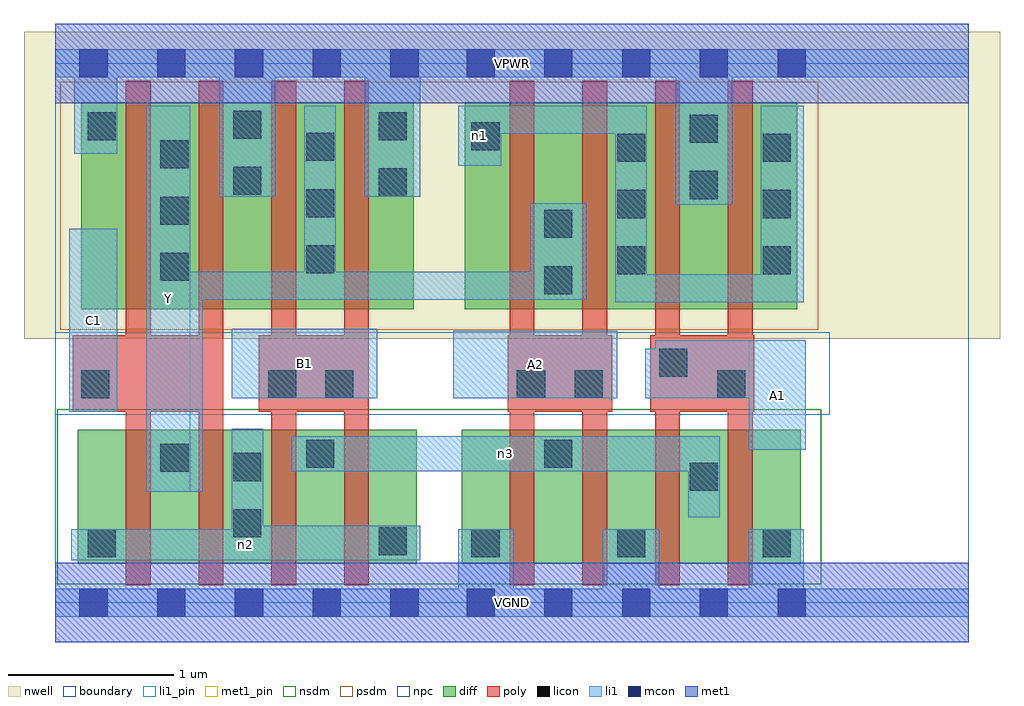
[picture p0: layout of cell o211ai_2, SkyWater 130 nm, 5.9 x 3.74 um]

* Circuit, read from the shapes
.subckt o211ai_2 A1 A2 B1 C1 VGND VPWR Y n1 n2 n3
XM1 Y C1 n2 VSUBS sky130_fd_pr__nfet_01v8 w=0.81 l=0.15 m=2
XM2 n3 B1 n2 VSUBS sky130_fd_pr__nfet_01v8 w=0.81 l=0.15 m=2
XM3 n3 A2 VGND VSUBS sky130_fd_pr__nfet_01v8 w=0.81 l=0.15 m=2
XM4 n3 A1 VGND VSUBS sky130_fd_pr__nfet_01v8 w=0.81 l=0.15 m=2
XM5 Y C1 VPWR n4 sky130_fd_pr__pfet_01v8 w=1.25 l=0.15 m=2
XM6 Y B1 VPWR n4 sky130_fd_pr__pfet_01v8 w=1.25 l=0.15 m=2
XM7 Y A2 n1 n4 sky130_fd_pr__pfet_01v8 w=1.25 l=0.15 m=2
XM8 VPWR A1 n1 n4 sky130_fd_pr__pfet_01v8 w=1.25 l=0.15 m=2
.ends

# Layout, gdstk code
import gdstk
lib = gdstk.Library(unit=1e-6, precision=1e-09)
def R(c, l, rs):  # rectangles x0, y0, x1, y1
    for r in rs: c.add(gdstk.rectangle(r[:2], r[2:], *l))
def A(c, l, x, y, w, h, nx, ny, dx, dy):  # array of equal rectangles
    R(c, l, [(x+i*dx, y+j*dy, x+i*dx+w, y+j*dy+h) for i in range(nx) for j in range(ny)])
nwell = (64, 20)
diff = (65, 20)
poly = (66, 20)
licon = (66, 44)
li1_pin = (67, 16)
li1 = (67, 20)
mcon = (67, 44)
met1_pin = (68, 16)
met1 = (68, 20)
nsdm = (93, 44)
psdm = (94, 20)
npc = (95, 20)
boundary = (235, 4)

o211ai_2 = lib.new_cell('o211ai_2')
R(o211ai_2, nwell, [(-0.19,1.595,5.71,3.45), (0,1.595,5.52,3.45)])
R(o211ai_2, diff, [(0.135,0.235,2.185,1.045), (2.455,0.235,4.505,1.045), (0.155,1.775,2.165,3.025), (2.475,1.775,4.485,3.025)])
A(o211ai_2, poly, 0.425, 0.105, 0.15, 3.05, 4, 1, 0.44, 0)
A(o211ai_2, poly, 2.745, 0.105, 0.15, 3.05, 4, 1, 0.44, 0)
R(o211ai_2, poly, [(0.105,1.155,1.015,1.615), (1.23,1.155,1.895,1.615), (2.735,1.155,3.365,1.615), (3.595,1.155,4.225,1.615)])
A(o211ai_2, licon, 2.515, 0.275, 0.17, 0.17, 3, 1, 0.88, 0)
A(o211ai_2, licon, 0.635, 1.945, 0.17, 0.17, 1, 3, 0, 0.34)
A(o211ai_2, licon, 3.395, 1.985, 0.17, 0.17, 1, 3, 0, 0.34)
A(o211ai_2, licon, 4.275, 1.985, 0.17, 0.17, 1, 3, 0, 0.34)
A(o211ai_2, licon, 1.515, 1.99, 0.17, 0.17, 1, 3, 0, 0.34)
R(o211ai_2, licon, [(0.195,0.275,0.365,0.445), (1.955,0.285,2.125,0.455), (1.075,0.395,1.245,0.565), (3.835,0.675,4.005,0.845), (1.075,0.735,1.245,0.905), (0.635,0.79,0.805,0.96), (1.515,0.815,1.685,0.985), (2.955,0.815,3.125,0.985), (0.155,1.235,0.325,1.405), (1.285,1.235,1.455,1.405), (1.63,1.235,1.8,1.405), (2.79,1.235,2.96,1.405), (3.14,1.235,3.31,1.405), (4,1.235,4.17,1.405), (3.65,1.365,3.82,1.535), (2.955,1.865,3.125,2.035), (2.955,2.205,3.125,2.375), (3.835,2.44,4.005,2.61), (1.955,2.455,2.125,2.625), (1.075,2.465,1.245,2.635), (2.515,2.735,2.685,2.905), (3.835,2.78,4.005,2.95), (0.195,2.795,0.365,2.965), (1.955,2.795,2.125,2.965), (1.075,2.805,1.245,2.975)])
R(o211ai_2, li1_pin, [(0.55,0.67,0.815,3.005), (4.19,0.925,4.535,1.585), (0.085,1.155,0.375,2.26), (1.065,1.235,1.945,1.655), (2.405,1.235,3.395,1.645)])
R(o211ai_2, li1, [(0,-0.085,5.52,0.085), (2.435,-0.085,2.77,0.445), (3.31,-0.085,3.65,0.445), (4.19,-0.085,4.525,0.445), (0.095,0.255,2.205,0.445), (1.065,0.255,1.255,1.05), (1.065,0.255,2.205,0.465), (3.825,0.515,4.015,1.005), (0.55,0.67,0.815,3.005), (0.55,0.67,0.89,2), (1.43,0.795,4.015,1.005), (4.19,0.925,4.535,1.585), (0.085,1.155,0.375,2.26), (1.065,1.235,1.945,1.655), (2.405,1.235,3.395,1.645), (3.565,1.235,4.535,1.535), (3.625,1.235,4.19,1.585), (3.385,1.815,4.525,1.985), (3.385,1.815,3.575,3.005), (4.265,1.815,4.525,3.005), (0.55,1.83,3.21,2), (1.505,1.83,1.695,3.005), (2.87,1.83,3.21,2.415), (3.75,2.405,4.09,3.345), (0.99,2.455,1.33,3.345), (1.87,2.455,2.205,3.345), (2.435,2.64,2.695,3.005), (0.115,2.715,0.375,3.345), (2.435,2.835,3.575,3.005), (0,3.175,5.52,3.345)])
A(o211ai_2, mcon, 0.145, -0.085, 0.17, 0.17, 5, 2, 0.47, 3.26)
A(o211ai_2, mcon, 2.485, -0.085, 0.17, 0.17, 5, 2, 0.47, 3.26)
R(o211ai_2, met1_pin, [(0,-0.24,5.52,0.24), (0,3.02,5.52,3.5)])
R(o211ai_2, met1, [(0,-0.24,5.52,0.24), (0,3.02,5.52,3.5)])
R(o211ai_2, nsdm, [(0.01,0.11,4.63,1.17)])
R(o211ai_2, psdm, [(0.03,1.65,4.61,3.15)])
R(o211ai_2, npc, [(0,1.135,4.68,1.635)])
R(o211ai_2, boundary, [(0,0,5.52,3.26)])
o211ai_2.add(gdstk.Label('A1', (4.362,1.255), layer=67, texttype=5))
o211ai_2.add(gdstk.Label('A2', (2.9,1.44), layer=67, texttype=5))
o211ai_2.add(gdstk.Label('B1', (1.505,1.445), layer=67, texttype=5))
o211ai_2.add(gdstk.Label('C1', (0.23,1.707), layer=67, texttype=5))
o211ai_2.add(gdstk.Label('Y', (0.682,1.837), layer=67, texttype=5))
o211ai_2.add(gdstk.Label('n3', (2.722,0.9), layer=67, texttype=5))
o211ai_2.add(gdstk.Label('n2', (1.15,0.35), layer=67, texttype=5))
o211ai_2.add(gdstk.Label('n1', (2.565,2.822), layer=67, texttype=5))
o211ai_2.add(gdstk.Label('VPWR', (2.76,3.26), layer=68, texttype=5))
o211ai_2.add(gdstk.Label('VGND', (2.76,0), layer=68, texttype=5))
o211ai_2.add(gdstk.Label('A1', (4.362,1.255), layer=67, texttype=16))
o211ai_2.add(gdstk.Label('A2', (2.9,1.44), layer=67, texttype=16))
o211ai_2.add(gdstk.Label('B1', (1.505,1.445), layer=67, texttype=16))
o211ai_2.add(gdstk.Label('C1', (0.23,1.707), layer=67, texttype=16))
o211ai_2.add(gdstk.Label('Y', (0.682,1.837), layer=67, texttype=16))
o211ai_2.add(gdstk.Label('VPWR', (2.76,3.26), layer=68, texttype=16))
o211ai_2.add(gdstk.Label('VGND', (2.76,0), layer=68, texttype=16))

lib.write_gds('o211ai_2.gds')
